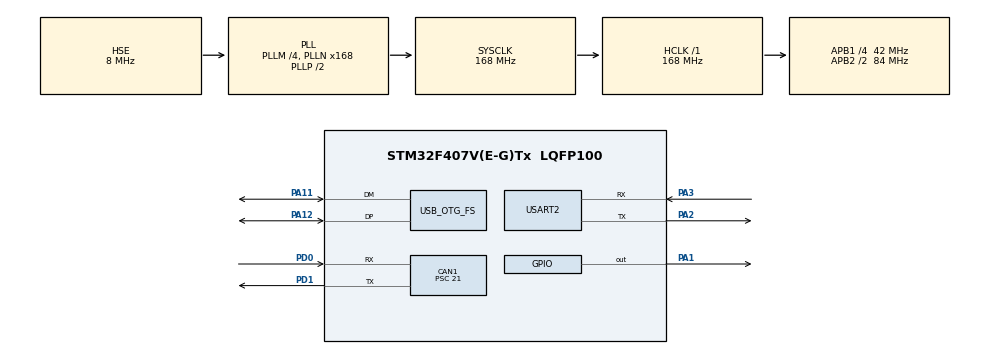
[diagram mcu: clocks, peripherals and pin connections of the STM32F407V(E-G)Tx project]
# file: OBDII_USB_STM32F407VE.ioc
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CAN1.BS1=CAN_BS1_12TQ
CAN1.BS2=CAN_BS2_4TQ
CAN1.CalculateBaudRate=117647
CAN1.CalculateTimeBit=8500.00
CAN1.CalculateTimeQuantum=500.0
CAN1.Mode=CAN_MODE_NORMAL
CAN1.Prescaler=21
Mcu.Family=STM32F4
Mcu.Name=STM32F407V(E-G)Tx
Mcu.Package=LQFP100
NVIC.CAN1_RX0_IRQn=true\:0\:0\:false\:false\:true\:true\:true
NVIC.OTG_FS_IRQn=true\:0\:0\:false\:false\:true\:true\:true
NVIC.PriorityGroup=NVIC_PRIORITYGROUP_4
PA1.Signal=GPIO_Output
PA11.Mode=Device_Only
PA11.Signal=USB_OTG_FS_DM
PA12.Mode=Device_Only
PA12.Signal=USB_OTG_FS_DP
PA13.Mode=Serial_Wire
PA13.Signal=SYS_JTMS-SWDIO
PA14.Mode=Serial_Wire
PA14.Signal=SYS_JTCK-SWCLK
PA2.Mode=Asynchronous
PA2.Signal=USART2_TX
PA3.Mode=Asynchronous
PA3.Signal=USART2_RX
PC14-OSC32_IN.Mode=LSE-External-Oscillator
PC14-OSC32_IN.Signal=RCC_OSC32_IN
PC15-OSC32_OUT.Mode=LSE-External-Oscillator
PC15-OSC32_OUT.Signal=RCC_OSC32_OUT
PD0.Mode=CAN_Activate
PD0.Signal=CAN1_RX
PD1.Mode=CAN_Activate
PD1.Signal=CAN1_TX
PH0-OSC_IN.Mode=HSE-External-Oscillator
PH0-OSC_IN.Signal=RCC_OSC_IN
PH1-OSC_OUT.Mode=HSE-External-Oscillator
PH1-OSC_OUT.Signal=RCC_OSC_OUT
ProjectManager.HeapSize=0x200
ProjectManager.StackSize=0x400
ProjectManager.TargetToolchain=STM32CubeIDE
RCC.48MHZClocksFreq_Value=48000000
RCC.AHBFreq_Value=168000000
RCC.APB1CLKDivider=RCC_HCLK_DIV4
RCC.APB1Freq_Value=42000000
RCC.APB1TimFreq_Value=84000000
RCC.APB2CLKDivider=RCC_HCLK_DIV2
RCC.APB2Freq_Value=84000000
RCC.APB2TimFreq_Value=168000000
RCC.CortexFreq_Value=168000000
RCC.HCLKFreq_Value=168000000
RCC.HSE_VALUE=8000000
RCC.HSI_VALUE=16000000
RCC.PLLM=4
RCC.PLLN=168
RCC.PLLQ=7
RCC.SYSCLKFreq_VALUE=168000000
RCC.SYSCLKSource=RCC_SYSCLKSOURCE_PLLCLK
RCC.VCOOutputFreq_Value=336000000
USART2.VirtualMode=VM_ASYNC
USB_DEVICE.CLASS_NAME_FS=CDC
USB_DEVICE.VirtualMode-CDC_FS=Cdc
USB_DEVICE.VirtualModeFS=Cdc_FS
USB_OTG_FS.VirtualMode=Device_Only
VP_USB_DEVICE_VS_USB_DEVICE_CDC_FS.Mode=CDC_FS
board=custom

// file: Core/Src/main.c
/* USER CODE BEGIN Header */
/**
 ******************************************************************************
 * @file           : main.c
 * @brief          : Main program body
 ******************************************************************************
 * @attention
 *
 * <h2><center>&copy; Copyright (c) 2021 STMicroelectronics.
 * All rights reserved.</center></h2>
 *
 * This software component is licensed by ST under BSD 3-Clause license,
 * the "License"; You may not use this file except in compliance with the
 * License. You may obtain a copy of the License at:
 *                        opensource.org/licenses/BSD-3-Clause
 *
 ******************************************************************************
 */
/* USER CODE END Header */
#include "main.h"
#include "can.h"
#include "usart.h"
#include "usb_device.h"
#include "gpio.h"

/* USER CODE BEGIN Includes */
#include "printf.h"

/* USER CODE END Includes */

/* USER CODE BEGIN PV */
/*CAN1*/
uint8_t usb_rx_buff[128]; //buffer created in main
CAN_TxHeaderTypeDef can1TxHeader;
CAN_RxHeaderTypeDef can1RxHeader;
uint32_t can1TxMailbox;
CAN_FilterTypeDef can1Filter;

uint8_t data_tx = 0;
uint8_t data_rx = 0;

uint8_t can_data_rx_flag = 0;

/* USER CODE END PV */

void SystemClock_Config(void);

int main(void)
{

  /* MCU Configuration--------------------------------------------------------*/

  /* Reset of all peripherals, Initializes the Flash interface and the Systick. */
  HAL_Init();

  /* Configure the system clock */
  SystemClock_Config();

  /* Initialize all configured peripherals */
  MX_GPIO_Init();
  MX_USB_DEVICE_Init();
  MX_USART2_UART_Init();
  MX_CAN1_Init();
  /* USER CODE BEGIN 2 */
	can1TxHeader.DLC = 1;
	can1TxHeader.IDE = CAN_ID_STD;
	can1TxHeader.RTR = CAN_RTR_DATA;
	can1TxHeader.StdId = 0x244;

	can1Filter.FilterFIFOAssignment = CAN_FILTER_FIFO0;
	can1Filter.FilterIdHigh = 0x244 << 5;
	can1Filter.FilterIdHigh = 0;
	can1Filter.FilterMaskIdHigh = 0;
	can1Filter.FilterIdLow = 0;
	can1Filter.FilterScale = CAN_FILTERSCALE_32BIT;
	can1Filter.FilterActivation = ENABLE;

	HAL_CAN_ConfigFilter(&hcan1, &can1Filter);

	/*!!! WARNING CAN1 is IN SILENT LOOP BACK MODE !!!!*/
	HAL_CAN_Start(&hcan1);
	HAL_CAN_ActivateNotification(&hcan1, CAN_IT_RX_FIFO0_MSG_PENDING);

  /* USER CODE END 2 */

  /* Infinite loop */
	while (1) {

    /* USER CODE BEGIN 3 */
		if (can_data_rx_flag) {
			can_data_rx_flag = 0;
			printf("Works!!! %d Buffer: %d\r\n", HAL_GetTick(), data_rx);
			HAL_GPIO_TogglePin(GPIOA, GPIO_PIN_1);

			++data_tx;
		}

		HAL_CAN_AddTxMessage(&hcan1, &can1TxHeader, &data_tx,
							&can1TxMailbox);
		HAL_Delay(700);
	}
  /* USER CODE END 3 */
}

void SystemClock_Config(void)
{
  RCC_OscInitTypeDef RCC_OscInitStruct = {0};
  RCC_ClkInitTypeDef RCC_ClkInitStruct = {0};

  /** Configure the main internal regulator output voltage
  */
  __HAL_RCC_PWR_CLK_ENABLE();
  __HAL_PWR_VOLTAGESCALING_CONFIG(PWR_REGULATOR_VOLTAGE_SCALE1);
  /** Initializes the RCC Oscillators according to the specified parameters
  * in the RCC_OscInitTypeDef structure.
  */
  RCC_OscInitStruct.OscillatorType = RCC_OSCILLATORTYPE_HSE;
  RCC_OscInitStruct.HSEState = RCC_HSE_ON;
  RCC_OscInitStruct.PLL.PLLState = RCC_PLL_ON;
  RCC_OscInitStruct.PLL.PLLSource = RCC_PLLSOURCE_HSE;
  RCC_OscInitStruct.PLL.PLLM = 4;
  RCC_OscInitStruct.PLL.PLLN = 168;
  RCC_OscInitStruct.PLL.PLLP = RCC_PLLP_DIV2;
  RCC_OscInitStruct.PLL.PLLQ = 7;
  if (HAL_RCC_OscConfig(&RCC_OscInitStruct) != HAL_OK)
  {
    Error_Handler();
  }
  /** Initializes the CPU, AHB and APB buses clocks
  */
  RCC_ClkInitStruct.ClockType = RCC_CLOCKTYPE_HCLK|RCC_CLOCKTYPE_SYSCLK
                              |RCC_CLOCKTYPE_PCLK1|RCC_CLOCKTYPE_PCLK2;
  RCC_ClkInitStruct.SYSCLKSource = RCC_SYSCLKSOURCE_PLLCLK;
  RCC_ClkInitStruct.AHBCLKDivider = RCC_SYSCLK_DIV1;
  RCC_ClkInitStruct.APB1CLKDivider = RCC_HCLK_DIV4;
  RCC_ClkInitStruct.APB2CLKDivider = RCC_HCLK_DIV2;

  if (HAL_RCC_ClockConfig(&RCC_ClkInitStruct, FLASH_LATENCY_5) != HAL_OK)
  {
    Error_Handler();
  }
}

void Error_Handler(void)
{
	__disable_irq();
	while (1) {
	}
}

/************************ (C) COPYRIGHT STMicroelectronics *****END OF FILE****/
